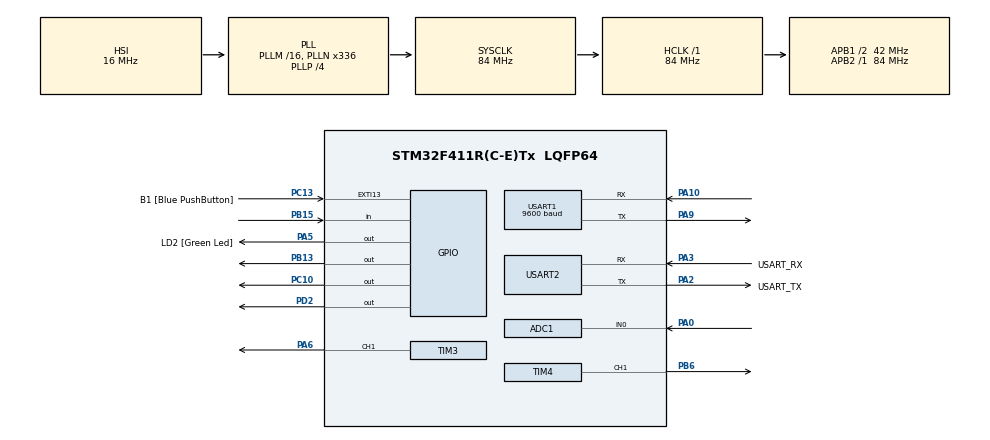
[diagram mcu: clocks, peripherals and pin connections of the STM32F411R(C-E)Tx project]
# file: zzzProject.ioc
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ADC1.Channel-0\#ChannelRegularConversion=ADC_CHANNEL_0
ADC1.NbrOfConversionFlag=1
ADC1.Rank-0\#ChannelRegularConversion=1
ADC1.SamplingTime-0\#ChannelRegularConversion=ADC_SAMPLETIME_3CYCLES
ADC1.master=1
FREERTOS.Tasks01=Control,0,128,StartControl,Default,NULL,Dynamic,NULL,NULL;Thermal_and_Hum,0,128,StartThermal_and_Humidity,Default,NULL,Dynamic,NULL,NULL;Dust,0,128,StartDust,Default,NULL,Dynamic,NULL,NULL;Ultrasonic,0,128,StartUltrasonic,Default,NULL,Dynamic,NULL,NULL;Average,0,128,StartAverage,Default,NULL,Dynamic,NULL,NULL;nodeMCUsend,0,1024,StartnodeMCUsend,Default,NULL,Dynamic,NULL,NULL
FREERTOS.configUSE_NEWLIB_REENTRANT=1
Mcu.Family=STM32F4
Mcu.Name=STM32F411R(C-E)Tx
Mcu.Package=LQFP64
NVIC.PriorityGroup=NVIC_PRIORITYGROUP_4
NVIC.TIM1_TRG_COM_TIM11_IRQn=true\:5\:0\:false\:false\:true\:false\:false\:true\:true
NVIC.TimeBase=TIM1_TRG_COM_TIM11_IRQn
NVIC.TimeBaseIP=TIM11
NVIC.USART1_IRQn=true\:5\:0\:false\:false\:true\:true\:true\:true\:true
NVIC.USART2_IRQn=true\:5\:0\:false\:false\:true\:true\:true\:true\:true
PA0-WKUP.Signal=ADCx_IN0
PA10.Mode=Asynchronous
PA10.Signal=USART1_RX
PA13.GPIO_Label=TMS
PA13.Mode=Serial_Wire
PA13.Signal=SYS_JTMS-SWDIO
PA14.GPIO_Label=TCK
PA14.Mode=Serial_Wire
PA14.Signal=SYS_JTCK-SWCLK
PA2.GPIO_Label=USART_TX
PA2.Mode=Asynchronous
PA2.Signal=USART2_TX
PA3.GPIO_Label=USART_RX
PA3.Mode=Asynchronous
PA3.Signal=USART2_RX
PA5.GPIO_Label=LD2 [Green Led]
PA5.Signal=GPIO_Output
PA6.Signal=S_TIM3_CH1
PA9.Mode=Asynchronous
PA9.Signal=USART1_TX
PB13.Signal=GPIO_Output
PB15.Signal=GPIO_Input
PB3.GPIO_Label=SWO
PB3.Signal=SYS_JTDO-SWO
PB6.Signal=S_TIM4_CH1
PC10.Signal=GPIO_Output
PC13-ANTI_TAMP.GPIO_Label=B1 [Blue PushButton]
PC13-ANTI_TAMP.GPIO_ModeDefaultEXTI=GPIO_MODE_IT_FALLING
PC13-ANTI_TAMP.Signal=GPXTI13
PC14-OSC32_IN.Mode=LSE-External-Oscillator
PC14-OSC32_IN.Signal=RCC_OSC32_IN
PC15-OSC32_OUT.Mode=LSE-External-Oscillator
PC15-OSC32_OUT.Signal=RCC_OSC32_OUT
PD2.Signal=GPIO_Output
PH0\ -\ OSC_IN.Mode=HSE-External-Clock-Source
PH0\ -\ OSC_IN.Signal=RCC_OSC_IN
PH1\ -\ OSC_OUT.Mode=HSE-External-Clock-Source
PH1\ -\ OSC_OUT.Signal=RCC_OSC_OUT
ProjectManager.HeapSize=0x200
ProjectManager.StackSize=0x400
ProjectManager.TargetToolchain=STM32CubeIDE
RCC.48MHZClocksFreq_Value=84000000
RCC.AHBFreq_Value=84000000
RCC.APB1CLKDivider=RCC_HCLK_DIV2
RCC.APB1Freq_Value=42000000
RCC.APB1TimFreq_Value=84000000
RCC.APB2Freq_Value=84000000
RCC.APB2TimFreq_Value=84000000
RCC.CortexFreq_Value=84000000
RCC.FLatency-AdvancedSettings=FLASH_LATENCY_2
RCC.HCLKFreq_Value=84000000
RCC.HSE_VALUE=8000000
RCC.HSI_VALUE=16000000
RCC.PLLN=336
RCC.PLLP=RCC_PLLP_DIV4
RCC.SYSCLKFreq_VALUE=84000000
RCC.SYSCLKSource=RCC_SYSCLKSOURCE_PLLCLK
RCC.VCOOutputFreq_Value=336000000
SH.ADCx_IN0.0=ADC1_IN0,IN0
SH.S_TIM3_CH1.0=TIM3_CH1,PWM Generation1 CH1
SH.S_TIM4_CH1.0=TIM4_CH1,PWM Generation1 CH1
TIM1.Prescaler=83
TIM3.Channel-PWM\ Generation1\ CH1=TIM_CHANNEL_1
TIM4.Channel-PWM\ Generation1\ CH1=TIM_CHANNEL_1
USART1.BaudRate=9600
USART1.VirtualMode=VM_ASYNC
USART2.VirtualMode=VM_ASYNC
VP_FREERTOS_VS_CMSIS_V1.Mode=CMSIS_V1
VP_SYS_VS_tim11.Mode=TIM11
VP_TIM1_VS_ClockSourceINT.Mode=Internal
VP_TIM3_VS_ClockSourceINT.Mode=Internal
VP_TIM4_VS_ClockSourceINT.Mode=Internal
board=NUCLEO-F411RE

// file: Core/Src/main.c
/* USER CODE BEGIN Header */
/**
  ******************************************************************************
  * @file           : main.c
  * @brief          : Main program body
  ******************************************************************************
  * @attention
  *
  * Copyright (c) 2023 STMicroelectronics.
  * All rights reserved.
  *
  * This software is licensed under terms that can be found in the LICENSE file
  * in the root directory of this software component.
  * If no LICENSE file comes with this software, it is provided AS-IS.
  *
  ******************************************************************************
  */
/* USER CODE END Header */
#include "main.h"
#include "cmsis_os.h"

/* USER CODE BEGIN Includes */
#include <stdbool.h>
#include <string.h>
/* USER CODE END Includes */

ADC_HandleTypeDef hadc1;

TIM_HandleTypeDef htim1;
TIM_HandleTypeDef htim3;
TIM_HandleTypeDef htim4;

UART_HandleTypeDef huart1;
UART_HandleTypeDef huart2;

osThreadId ControlHandle;
osThreadId Thermal_and_HumHandle;
osThreadId DustHandle;
osThreadId UltrasonicHandle;
osThreadId AverageHandle;
osThreadId nodeMCUsendHandle;

void SystemClock_Config(void);
static void MX_GPIO_Init(void);
static void MX_USART2_UART_Init(void);
static void MX_ADC1_Init(void);
static void MX_TIM3_Init(void);
static void MX_TIM4_Init(void);
static void MX_TIM1_Init(void);
static void MX_USART1_UART_Init(void);
void StartControl(void const * argument);
void StartThermal_and_Humidity(void const * argument);
void StartDust(void const * argument);
void StartUltrasonic(void const * argument);
void StartAverage(void const * argument);
void StartnodeMCUsend(void const * argument);

/* USER CODE BEGIN 0 */

//Control
	int autoMode = 1;
	int pwmFan = 0;
	int pwmWater = 0;
	int pwmTem = 0;
	int pwmDust = 0;
	int movement = 300; //no movement after 60s turn off fan and water check in range 50cm

//Average
	int aveCount = 0;
	float sumDust  = 0;
	float aveDust  = 0;

//Ultrasonic
	#define TRIG_PIN GPIO_PIN_13
	#define TRIG_PORT GPIOB
	#define ECHO_PIN GPIO_PIN_15
	#define ECHO_PORT GPIOB
	uint32_t pMillis_U;
	uint32_t Value1 = 0;
	uint32_t Value2 = 0;
	float Distance  = 0;  // cm

//Dust
	float voMeasured = 0;
	float calcVoltage = 0;
	float dustDensity = 0;

//Thermal_and_Humidity
	#define DHT11_PORT GPIOC
	#define DHT11_PIN GPIO_PIN_10
	uint8_t RHI, RHD, TCI, TCD, SUM;
	uint32_t pMillis_T, cMillis_T;
	float tCelsius = 0;
	float tFahrenheit = 0;
	float RH = 0;

	void microDelay (uint16_t delay)
	{
	  __HAL_TIM_SET_COUNTER(&htim1, 0);
	  while (__HAL_TIM_GET_COUNTER(&htim1) < delay);
	}

	uint8_t DHT11_Start (void)
	{
	  uint8_t Response = 0;
	  GPIO_InitTypeDef GPIO_InitStructPrivate = {0};
	  GPIO_InitStructPrivate.Pin = DHT11_PIN;
	  GPIO_InitStructPrivate.Mode = GPIO_MODE_OUTPUT_PP;
	  GPIO_InitStructPrivate.Speed = GPIO_SPEED_FREQ_LOW;
	  GPIO_InitStructPrivate.Pull = GPIO_NOPULL;
	  HAL_GPIO_Init(DHT11_PORT, &GPIO_InitStructPrivate); // set the pin as output
	  HAL_GPIO_WritePin (DHT11_PORT, DHT11_PIN, 0);   // pull the pin low
	  HAL_Delay(20);   // wait for 20ms
	  HAL_GPIO_WritePin (DHT11_PORT, DHT11_PIN, 1);   // pull the pin high
	  microDelay (30);   // wait for 30us
	  GPIO_InitStructPrivate.Mode = GPIO_MODE_INPUT;
	  GPIO_InitStructPrivate.Pull = GPIO_PULLUP;
	  HAL_GPIO_Init(DHT11_PORT, &GPIO_InitStructPrivate); // set the pin as input
	  microDelay (40);
	  if (!(HAL_GPIO_ReadPin (DHT11_PORT, DHT11_PIN)))
	  {
	    microDelay (80);
	    if ((HAL_GPIO_ReadPin (DHT11_PORT, DHT11_PIN))) Response = 1;
	  }
	  pMillis_T = HAL_GetTick();
	  cMillis_T = HAL_GetTick();
	  while ((HAL_GPIO_ReadPin (DHT11_PORT, DHT11_PIN)) && pMillis_T + 2 > cMillis_T)
	  {
	    cMillis_T = HAL_GetTick();
	  }
	  return Response;
	}

	uint8_t DHT11_Read (void)
	{
	  uint8_t a,b;
	  for (a=0;a<8;a++)
	  {
	    pMillis_T = HAL_GetTick();
	    cMillis_T = HAL_GetTick();
	    while (!(HAL_GPIO_ReadPin (DHT11_PORT, DHT11_PIN)) && pMillis_T + 2 > cMillis_T)
	    {  // wait for the pin to go high
	      cMillis_T = HAL_GetTick();
	    }
	    microDelay (40);   // wait for 40 us
	    if (!(HAL_GPIO_ReadPin (DHT11_PORT, DHT11_PIN)))   // if the pin is low
	      b&= ~(1<<(7-a));
	    else
	      b|= (1<<(7-a));
	    pMillis_T = HAL_GetTick();
	    cMillis_T = HAL_GetTick();
	    while ((HAL_GPIO_ReadPin (DHT11_PORT, DHT11_PIN)) && pMillis_T + 2 > cMillis_T)
	    {  // wait for the pin to go low
	      cMillis_T = HAL_GetTick();
	    }
	  }
	  return b;
	}

	//Node MCU
		char c;
		char receiveString[256] = "";
		char tempFilling[2] = {' ', '\0'};
		char sendingString[256] = "";
		int receiveIdx = 0;
		bool validInitial = false;

		void sendData() {
			strcpy(sendingString, "");
			sprintf(sendingString, "{\"data\":{\"dust\":%.1f,\"temperature\":%.1f,\"humidity\":%.1f}}", aveDust, tCelsius, RH);
			HAL_UART_Transmit_IT(&huart1, sendingString, sizeof(sendingString));
		}

		void HAL_UART_RxCpltCallback(UART_HandleTypeDef *huart){
			if (huart->Instance == USART1) {
				// HAL_UART_Transmit(&huart2, &c, sizeof(c), 1000);
				if (receiveIdx == 0) {
					// autoMode
					autoMode = (int)c;
				}
				else if (receiveIdx == 1) {
					// pwmFan
					pwmFan = (int)c;
				}
				else {
					// pwmWater
					pwmWater = (int)c;
					validInitial = true;
				}
				receiveIdx = (receiveIdx+1)%3;

				HAL_UART_Receive_IT(&huart1, &c, sizeof(c));
			}
		}
/* USER CODE END 0 */

int main(void)
{

  /* MCU Configuration--------------------------------------------------------*/

  /* Reset of all peripherals, Initializes the Flash interface and the Systick. */
  HAL_Init();

  /* Configure the system clock */
  SystemClock_Config();

  /* Initialize all configured peripherals */
  MX_GPIO_Init();
  MX_USART2_UART_Init();
  MX_ADC1_Init();
  MX_TIM3_Init();
  MX_TIM4_Init();
  MX_TIM1_Init();
  MX_USART1_UART_Init();
  /* USER CODE BEGIN 2 */

  // Start receiving data from nodemcu
  HAL_UART_Receive_IT(&huart1, &c, sizeof(c));

  // Wait for initializing mode
  while (!validInitial) {
	  HAL_UART_Transmit(&huart1, "request", sizeof("request"), 2000);
	  HAL_GPIO_TogglePin(GPIOA, GPIO_PIN_5);
	  int cnt = 0;
	  while (++cnt < 2000) {
		  HAL_Delay(5);
		  if (validInitial) break;
	  }
  }

  HAL_TIM_Base_Start(&htim1);

  //Ultrasonic
  HAL_GPIO_WritePin(TRIG_PORT, TRIG_PIN, GPIO_PIN_RESET);  // pull the TRIG pin low

  //PWM
  HAL_TIM_PWM_Start(&htim3, TIM_CHANNEL_1); //PA6
  HAL_TIM_PWM_Start(&htim4, TIM_CHANNEL_1); //PB6
  HAL_GPIO_WritePin(GPIOD, GPIO_PIN_2, 1);

  /* USER CODE END 2 */

  /* Create the thread(s) */
  /* definition and creation of Control */
  osThreadDef(Control, StartControl, osPriorityNormal, 0, 128);
  ControlHandle = osThreadCreate(osThread(Control), NULL);

  /* definition and creation of Thermal_and_Hum */
  osThreadDef(Thermal_and_Hum, StartThermal_and_Humidity, osPriorityNormal, 0, 128);
  Thermal_and_HumHandle = osThreadCreate(osThread(Thermal_and_Hum), NULL);

  /* definition and creation of Dust */
  osThreadDef(Dust, StartDust, osPriorityNormal, 0, 128);
  DustHandle = osThreadCreate(osThread(Dust), NULL);

  /* definition and creation of Ultrasonic */
  osThreadDef(Ultrasonic, StartUltrasonic, osPriorityNormal, 0, 128);
  UltrasonicHandle = osThreadCreate(osThread(Ultrasonic), NULL);

  /* definition and creation of Average */
  osThreadDef(Average, StartAverage, osPriorityNormal, 0, 128);
  AverageHandle = osThreadCreate(osThread(Average), NULL);

  /* definition and creation of nodeMCUsend */
  osThreadDef(nodeMCUsend, StartnodeMCUsend, osPriorityNormal, 0, 1024);
  nodeMCUsendHandle = osThreadCreate(osThread(nodeMCUsend), NULL);

  /* Start scheduler */
  osKernelStart();
  /* We should never get here as control is now taken by the scheduler */
  /* Infinite loop */
  while (1)
  {

  }
}

void SystemClock_Config(void)
{
  RCC_OscInitTypeDef RCC_OscInitStruct = {0};
  RCC_ClkInitTypeDef RCC_ClkInitStruct = {0};

  /** Configure the main internal regulator output voltage
  */
  __HAL_RCC_PWR_CLK_ENABLE();
  __HAL_PWR_VOLTAGESCALING_CONFIG(PWR_REGULATOR_VOLTAGE_SCALE1);

  /** Initializes the RCC Oscillators according to the specified parameters
  * in the RCC_OscInitTypeDef structure.
  */
  RCC_OscInitStruct.OscillatorType = RCC_OSCILLATORTYPE_HSI;
  RCC_OscInitStruct.HSIState = RCC_HSI_ON;
  RCC_OscInitStruct.HSICalibrationValue = RCC_HSICALIBRATION_DEFAULT;
  RCC_OscInitStruct.PLL.PLLState = RCC_PLL_ON;
  RCC_OscInitStruct.PLL.PLLSource = RCC_PLLSOURCE_HSI;
  RCC_OscInitStruct.PLL.PLLM = 16;
  RCC_OscInitStruct.PLL.PLLN = 336;
  RCC_OscInitStruct.PLL.PLLP = RCC_PLLP_DIV4;
  RCC_OscInitStruct.PLL.PLLQ = 4;
  if (HAL_RCC_OscConfig(&RCC_OscInitStruct) != HAL_OK)
  {
    Error_Handler();
  }

  /** Initializes the CPU, AHB and APB buses clocks
  */
  RCC_ClkInitStruct.ClockType = RCC_CLOCKTYPE_HCLK|RCC_CLOCKTYPE_SYSCLK
                              |RCC_CLOCKTYPE_PCLK1|RCC_CLOCKTYPE_PCLK2;
  RCC_ClkInitStruct.SYSCLKSource = RCC_SYSCLKSOURCE_PLLCLK;
  RCC_ClkInitStruct.AHBCLKDivider = RCC_SYSCLK_DIV1;
  RCC_ClkInitStruct.APB1CLKDivider = RCC_HCLK_DIV2;
  RCC_ClkInitStruct.APB2CLKDivider = RCC_HCLK_DIV1;

  if (HAL_RCC_ClockConfig(&RCC_ClkInitStruct, FLASH_LATENCY_2) != HAL_OK)
  {
    Error_Handler();
  }
}

static void MX_ADC1_Init(void)
{

  ADC_ChannelConfTypeDef sConfig = {0};

  /** Configure the global features of the ADC (Clock, Resolution, Data Alignment and number of conversion)
  */
  hadc1.Instance = ADC1;
  hadc1.Init.ClockPrescaler = ADC_CLOCK_SYNC_PCLK_DIV4;
  hadc1.Init.Resolution = ADC_RESOLUTION_12B;
  hadc1.Init.ScanConvMode = DISABLE;
  hadc1.Init.ContinuousConvMode = DISABLE;
  hadc1.Init.DiscontinuousConvMode = DISABLE;
  hadc1.Init.ExternalTrigConvEdge = ADC_EXTERNALTRIGCONVEDGE_NONE;
  hadc1.Init.ExternalTrigConv = ADC_SOFTWARE_START;
  hadc1.Init.DataAlign = ADC_DATAALIGN_RIGHT;
  hadc1.Init.NbrOfConversion = 1;
  hadc1.Init.DMAContinuousRequests = DISABLE;
  hadc1.Init.EOCSelection = ADC_EOC_SINGLE_CONV;
  if (HAL_ADC_Init(&hadc1) != HAL_OK)
  {
    Error_Handler();
  }

  /** Configure for the selected ADC regular channel its corresponding rank in the sequencer and its sample time.
  */
  sConfig.Channel = ADC_CHANNEL_0;
  sConfig.Rank = 1;
  sConfig.SamplingTime = ADC_SAMPLETIME_3CYCLES;
  if (HAL_ADC_ConfigChannel(&hadc1, &sConfig) != HAL_OK)
  {
    Error_Handler();
  }

}

static void MX_TIM1_Init(void)
{

  TIM_ClockConfigTypeDef sClockSourceConfig = {0};
  TIM_MasterConfigTypeDef sMasterConfig = {0};

  htim1.Instance = TIM1;
  htim1.Init.Prescaler = 83;
  htim1.Init.CounterMode = TIM_COUNTERMODE_UP;
  htim1.Init.Period = 65535;
  htim1.Init.ClockDivision = TIM_CLOCKDIVISION_DIV1;
  htim1.Init.RepetitionCounter = 0;
  htim1.Init.AutoReloadPreload = TIM_AUTORELOAD_PRELOAD_DISABLE;
  if (HAL_TIM_Base_Init(&htim1) != HAL_OK)
  {
    Error_Handler();
  }
  sClockSourceConfig.ClockSource = TIM_CLOCKSOURCE_INTERNAL;
  if (HAL_TIM_ConfigClockSource(&htim1, &sClockSourceConfig) != HAL_OK)
  {
    Error_Handler();
  }
  sMasterConfig.MasterOutputTrigger = TIM_TRGO_RESET;
  sMasterConfig.MasterSlaveMode = TIM_MASTERSLAVEMODE_DISABLE;
  if (HAL_TIMEx_MasterConfigSynchronization(&htim1, &sMasterConfig) != HAL_OK)
  {
    Error_Handler();
  }

}

static void MX_TIM3_Init(void)
{

  TIM_ClockConfigTypeDef sClockSourceConfig = {0};
  TIM_MasterConfigTypeDef sMasterConfig = {0};
  TIM_OC_InitTypeDef sConfigOC = {0};

  htim3.Instance = TIM3;
  htim3.Init.Prescaler = 0;
  htim3.Init.CounterMode = TIM_COUNTERMODE_UP;
  htim3.Init.Period = 65535;
  htim3.Init.ClockDivision = TIM_CLOCKDIVISION_DIV1;
  htim3.Init.AutoReloadPreload = TIM_AUTORELOAD_PRELOAD_DISABLE;
  if (HAL_TIM_Base_Init(&htim3) != HAL_OK)
  {
    Error_Handler();
  }
  sClockSourceConfig.ClockSource = TIM_CLOCKSOURCE_INTERNAL;
  if (HAL_TIM_ConfigClockSource(&htim3, &sClockSourceConfig) != HAL_OK)
  {
    Error_Handler();
  }
  if (HAL_TIM_PWM_Init(&htim3) != HAL_OK)
  {
    Error_Handler();
  }
  sMasterConfig.MasterOutputTrigger = TIM_TRGO_RESET;
  sMasterConfig.MasterSlaveMode = TIM_MASTERSLAVEMODE_DISABLE;
  if (HAL_TIMEx_MasterConfigSynchronization(&htim3, &sMasterConfig) != HAL_OK)
  {
    Error_Handler();
  }
  sConfigOC.OCMode = TIM_OCMODE_PWM1;
  sConfigOC.Pulse = 0;
  sConfigOC.OCPolarity = TIM_OCPOLARITY_HIGH;
  sConfigOC.OCFastMode = TIM_OCFAST_DISABLE;
  if (HAL_TIM_PWM_ConfigChannel(&htim3, &sConfigOC, TIM_CHANNEL_1) != HAL_OK)
  {
    Error_Handler();
  }
  HAL_TIM_MspPostInit(&htim3);

}

static void MX_TIM4_Init(void)
{

  TIM_ClockConfigTypeDef sClockSourceConfig = {0};
  TIM_MasterConfigTypeDef sMasterConfig = {0};
  TIM_OC_InitTypeDef sConfigOC = {0};

  htim4.Instance = TIM4;
  htim4.Init.Prescaler = 0;
  htim4.Init.CounterMode = TIM_COUNTERMODE_UP;
  htim4.Init.Period = 65535;
  htim4.Init.ClockDivision = TIM_CLOCKDIVISION_DIV1;
  htim4.Init.AutoReloadPreload = TIM_AUTORELOAD_PRELOAD_DISABLE;
  if (HAL_TIM_Base_Init(&htim4) != HAL_OK)
  {
    Error_Handler();
  }
  sClockSourceConfig.ClockSource = TIM_CLOCKSOURCE_INTERNAL;
  if (HAL_TIM_ConfigClockSource(&htim4, &sClockSourceConfig) != HAL_OK)
  {
    Error_Handler();
  }
  if (HAL_TIM_PWM_Init(&htim4) != HAL_OK)
  {
    Error_Handler();
  }
  sMasterConfig.MasterOutputTrigger = TIM_TRGO_RESET;
  sMasterConfig.MasterSlaveMode = TIM_MASTERSLAVEMODE_DISABLE;
  if (HAL_TIMEx_MasterConfigSynchronization(&htim4, &sMasterConfig) != HAL_OK)
  {
    Error_Handler();
  }
  sConfigOC.OCMode = TIM_OCMODE_PWM1;
  sConfigOC.Pulse = 0;
  sConfigOC.OCPolarity = TIM_OCPOLARITY_HIGH;
  sConfigOC.OCFastMode = TIM_OCFAST_DISABLE;
  if (HAL_TIM_PWM_ConfigChannel(&htim4, &sConfigOC, TIM_CHANNEL_1) != HAL_OK)
  {
    Error_Handler();
  }
  HAL_TIM_MspPostInit(&htim4);

}

static void MX_USART1_UART_Init(void)
{

  huart1.Instance = USART1;
  huart1.Init.BaudRate = 9600;
  huart1.Init.WordLength = UART_WORDLENGTH_8B;
  huart1.Init.StopBits = UART_STOPBITS_1;
  huart1.Init.Parity = UART_PARITY_NONE;
  huart1.Init.Mode = UART_MODE_TX_RX;
  huart1.Init.HwFlowCtl = UART_HWCONTROL_NONE;
  huart1.Init.OverSampling = UART_OVERSAMPLING_16;
  if (HAL_UART_Init(&huart1) != HAL_OK)
  {
    Error_Handler();
  }

}

static void MX_USART2_UART_Init(void)
{

  huart2.Instance = USART2;
  huart2.Init.BaudRate = 115200;
  huart2.Init.WordLength = UART_WORDLENGTH_8B;
  huart2.Init.StopBits = UART_STOPBITS_1;
  huart2.Init.Parity = UART_PARITY_NONE;
  huart2.Init.Mode = UART_MODE_TX_RX;
  huart2.Init.HwFlowCtl = UART_HWCONTROL_NONE;
  huart2.Init.OverSampling = UART_OVERSAMPLING_16;
  if (HAL_UART_Init(&huart2) != HAL_OK)
  {
    Error_Handler();
  }

}

static void MX_GPIO_Init(void)
{
  GPIO_InitTypeDef GPIO_InitStruct = {0};

  /* GPIO Ports Clock Enable */
  __HAL_RCC_GPIOC_CLK_ENABLE();
  __HAL_RCC_GPIOH_CLK_ENABLE();
  __HAL_RCC_GPIOA_CLK_ENABLE();
  __HAL_RCC_GPIOB_CLK_ENABLE();
  __HAL_RCC_GPIOD_CLK_ENABLE();

  /*Configure GPIO pin Output Level */
  HAL_GPIO_WritePin(LD2_GPIO_Port, LD2_Pin, GPIO_PIN_RESET);

  /*Configure GPIO pin Output Level */
  HAL_GPIO_WritePin(GPIOB, GPIO_PIN_13, GPIO_PIN_RESET);

  /*Configure GPIO pin Output Level */
  HAL_GPIO_WritePin(GPIOC, GPIO_PIN_10, GPIO_PIN_RESET);

  /*Configure GPIO pin Output Level */
  HAL_GPIO_WritePin(GPIOD, GPIO_PIN_2, GPIO_PIN_RESET);

  /*Configure GPIO pin : B1_Pin */
  GPIO_InitStruct.Pin = B1_Pin;
  GPIO_InitStruct.Mode = GPIO_MODE_IT_FALLING;
  GPIO_InitStruct.Pull = GPIO_NOPULL;
  HAL_GPIO_Init(B1_GPIO_Port, &GPIO_InitStruct);

  /*Configure GPIO pin : LD2_Pin */
  GPIO_InitStruct.Pin = LD2_Pin;
  GPIO_InitStruct.Mode = GPIO_MODE_OUTPUT_PP;
  GPIO_InitStruct.Pull = GPIO_NOPULL;
  GPIO_InitStruct.Speed = GPIO_SPEED_FREQ_LOW;
  HAL_GPIO_Init(LD2_GPIO_Port, &GPIO_InitStruct);

  /*Configure GPIO pin : PB13 */
  GPIO_InitStruct.Pin = GPIO_PIN_13;
  GPIO_InitStruct.Mode = GPIO_MODE_OUTPUT_PP;
  GPIO_InitStruct.Pull = GPIO_NOPULL;
  GPIO_InitStruct.Speed = GPIO_SPEED_FREQ_LOW;
  HAL_GPIO_Init(GPIOB, &GPIO_InitStruct);

  /*Configure GPIO pin : PB15 */
  GPIO_InitStruct.Pin = GPIO_PIN_15;
  GPIO_InitStruct.Mode = GPIO_MODE_INPUT;
  GPIO_InitStruct.Pull = GPIO_NOPULL;
  HAL_GPIO_Init(GPIOB, &GPIO_InitStruct);

  /*Configure GPIO pin : PC10 */
  GPIO_InitStruct.Pin = GPIO_PIN_10;
  GPIO_InitStruct.Mode = GPIO_MODE_OUTPUT_PP;
  GPIO_InitStruct.Pull = GPIO_NOPULL;
  GPIO_InitStruct.Speed = GPIO_SPEED_FREQ_LOW;
  HAL_GPIO_Init(GPIOC, &GPIO_InitStruct);

  /*Configure GPIO pin : PD2 */
  GPIO_InitStruct.Pin = GPIO_PIN_2;
  GPIO_InitStruct.Mode = GPIO_MODE_OUTPUT_PP;
  GPIO_InitStruct.Pull = GPIO_NOPULL;
  GPIO_InitStruct.Speed = GPIO_SPEED_FREQ_LOW;
  HAL_GPIO_Init(GPIOD, &GPIO_InitStruct);

}

void StartControl(void const * argument)
{
  /* USER CODE BEGIN 5 */
  /* Infinite loop */
  for(;;)
  {
	  if(autoMode==1){
		  //fan tem=25 or dust=5
		  if(tCelsius>25 && pwmTem<50){
			  pwmTem=pwmTem+1;
		  }else if(tCelsius<=25){
			  pwmTem=0;
		  }
		  if(aveDust>5 && pwmDust<50){
			  pwmDust=pwmDust+1;
		  }else if(aveDust<=5){
			  pwmDust=0;
		  }
		  //pwmFan = max(pwmDust,pwmTem)
		  if(pwmDust>=pwmTem) pwmFan=50+pwmDust;
		  else pwmFan=50+pwmTem;

		  //water rh=80
		  if(RH<=75){
			  pwmWater=1;
		  }else if(RH>80){
			  pwmWater=0;
		  }

		  //check movement  จะsetค่าโชว์ดีมั้ย
		  if(movement>0){
			  __HAL_TIM_SET_COMPARE(&htim3,TIM_CHANNEL_1,(htim3.Init.Period)*pwmFan/100);
			  __HAL_TIM_SET_COMPARE(&htim4,TIM_CHANNEL_1,(htim4.Init.Period)*(pwmWater*5)/100);
		  }
		  else{
			  __HAL_TIM_SET_COMPARE(&htim3,TIM_CHANNEL_1,(htim3.Init.Period)*0/100);
			  __HAL_TIM_SET_COMPARE(&htim4,TIM_CHANNEL_1,(htim4.Init.Period)*0/100);
		  }

	  }
	  else{
		  __HAL_TIM_SET_COMPARE(&htim3,TIM_CHANNEL_1,(htim3.Init.Period)*pwmFan/100);
		  __HAL_TIM_SET_COMPARE(&htim4,TIM_CHANNEL_1,(htim4.Init.Period)*(pwmWater*5)/100);
	  }
	  osDelay(500);
  }
  /* USER CODE END 5 */
}

void StartThermal_and_Humidity(void const * argument)
{
  /* USER CODE BEGIN StartThermal_and_Humidity */
  /* Infinite loop */
  for(;;)
  {
	    if(DHT11_Start())
	    {
	      RHI = DHT11_Read(); // Relative humidity integral
	      RHD = DHT11_Read(); // Relative humidity decimal
	      TCI = DHT11_Read(); // Celsius integral
	      TCD = DHT11_Read(); // Celsius decimal
	      SUM = DHT11_Read(); // Check sum
	      if (RHI + RHD + TCI + TCD == SUM)
	      {
	        // Can use RHI and TCI for any purposes if whole number only needed
	        tCelsius = (float)TCI + (float)(TCD/10.0);
	        tFahrenheit = tCelsius * 9/5 + 32;
	        RH = (float)RHI + (float)(RHD/10.0);
	        // Can use tCelsius, tFahrenheit and RH for any purposes
	      }
	    }
	    osDelay(200);
  }
  /* USER CODE END StartThermal_and_Humidity */
}

void StartDust(void const * argument)
{
  /* USER CODE BEGIN StartDust */
  /* Infinite loop */
  for(;;)
  {
		 HAL_ADC_Start(&hadc1);

		 if (HAL_ADC_PollForConversion(&hadc1, 1000) == HAL_OK) {
			voMeasured = HAL_ADC_GetValue(&hadc1);

			// 0 - 5V mapped to 0 - 1023 integer values
			// recover voltage
			calcVoltage = voMeasured * (5.0 / 1024.0);

			// linear eqaution taken from http://www.howmuchsnow.com/arduino/airquality/
			// Chris Nafis (c) 2012
			dustDensity = 170 * calcVoltage - 0.1;

		  	osDelay(100);
		 }
  }
  /* USER CODE END StartDust */
}

void StartUltrasonic(void const * argument)
{
  /* USER CODE BEGIN StartUltrasonic */
  /* Infinite loop */
  for(;;)
  {
	    HAL_GPIO_WritePin(TRIG_PORT, TRIG_PIN, GPIO_PIN_SET);  // pull the TRIG pin HIGH
	    __HAL_TIM_SET_COUNTER(&htim1, 0);
	    while (__HAL_TIM_GET_COUNTER (&htim1) < 10);  // wait for 10 us
	    HAL_GPIO_WritePin(TRIG_PORT, TRIG_PIN, GPIO_PIN_RESET);  // pull the TRIG pin low

	    pMillis_U = HAL_GetTick(); // used this to avoid infinite while loop  (for timeout)
	    // wait for the echo pin to go high
	    while (!(HAL_GPIO_ReadPin (ECHO_PORT, ECHO_PIN)) && pMillis_U + 10 >  HAL_GetTick());
	    Value1 = __HAL_TIM_GET_COUNTER (&htim1);

	    pMillis_U = HAL_GetTick(); // used this to avoid infinite while loop (for timeout)
	    // wait for the echo pin to go low
	    while ((HAL_GPIO_ReadPin (ECHO_PORT, ECHO_PIN)) && pMillis_U + 50 > HAL_GetTick());
	    Value2 = __HAL_TIM_GET_COUNTER (&htim1);

	    Distance = (Value2-Value1)* 0.034/2;
	    osDelay(200);
  }
  /* USER CODE END StartUltrasonic */
}

void StartAverage(void const * argument)
{
  /* USER CODE BEGIN StartAverage */

	aveDust=dustDensity;

  /* Infinite loop */
  for(;;)
  {
		if(aveCount<50){
			aveCount=aveCount+1;
			sumDust=sumDust+dustDensity;
		}
		else{
			aveCount = 0;
			aveDust  = sumDust/50.0;

			sumDust  = 0;
		}

	    //check movement
	    if(Distance <= 50) movement=300;
	    else movement=movement-1;
	    if(movement<0) movement=0;

	    osDelay(200);
  }
  /* USER CODE END StartAverage */
}

void StartnodeMCUsend(void const * argument)
{
  /* USER CODE BEGIN StartnodeMCUsend */
  /* Infinite loop */
  for(;;)
  {
	  osDelay(30000);
	  sendData();
  }
  /* USER CODE END StartnodeMCUsend */
}

void HAL_TIM_PeriodElapsedCallback(TIM_HandleTypeDef *htim)
{
  if (htim->Instance == TIM11) {
    HAL_IncTick();
  }
}

void Error_Handler(void)
{
  __disable_irq();
  while (1)
  {
  }
}
